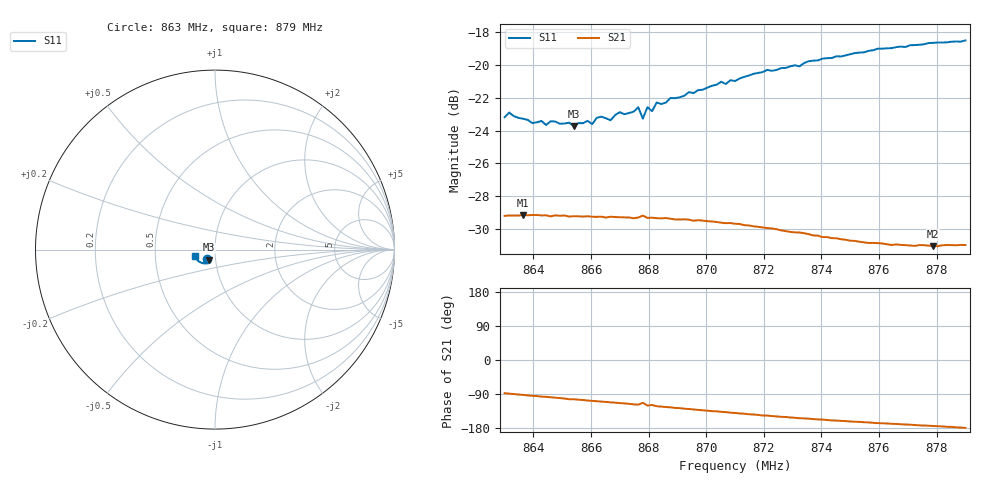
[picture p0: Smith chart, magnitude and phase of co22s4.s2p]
# HZ S RI R 50
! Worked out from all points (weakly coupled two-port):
!   101 points, 863 MHz to 879 MHz, reference 50 ohm
!   highest |S21| = -29.14 dB at 863.64 MHz (marker M1); lowest = -31.0 dB at 877.88 MHz (marker M2)
!   lowest |S11| = -23.7 dB at 865.4 MHz (marker M3), VSWR 1.14, Z = 46.6 - j5.33 ohm
!   |S11| at or under -10 dB: start of sweep to end of sweep
!   S12 and S22 are empty: the file has one direction only
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8.63e8  -0.0437 -0.0539  0.00148 -0.0346  0 0  0 0
8.6316e8  -0.045 -0.0558  0.000677 -0.0348  0 0  0 0
8.6364e8  -0.0415 -0.0547  -0.00125 -0.0349  0 0  0 0
8.654e8  -0.032 -0.0569  -0.00808 -0.0336  0 0  0 0
8.6572e8  -0.0341 -0.0571  -0.00925 -0.0332  0 0  0 0
8.6604e8  -0.0323 -0.0576  -0.0106 -0.0328  0 0  0 0
8.6636e8  -0.0354 -0.0599  -0.0117 -0.0324  0 0  0 0
8.6668e8  -0.0305 -0.0607  -0.0128 -0.032  0 0  0 0
8.67e8  -0.0357 -0.0624  -0.0139 -0.0314  0 0  0 0
8.6716e8  -0.0331 -0.0626  -0.0142 -0.0312  0 0  0 0
8.6764e8  -0.0356 -0.0653  -0.0161 -0.0303  0 0  0 0
8.678e8  -0.0241 -0.0643  -0.0135 -0.032  0 0  0 0
8.6796e8  -0.0348 -0.0659  -0.0172 -0.0295  0 0  0 0
8.6812e8  -0.0316 -0.0651  -0.0165 -0.03  0 0  0 0
8.6828e8  -0.0354 -0.0683  -0.0181 -0.0289  0 0  0 0
8.6844e8  -0.0355 -0.0673  -0.0186 -0.0286  0 0  0 0
8.7052e8  -0.0465 -0.0759  -0.0241 -0.0226  0 0  0 0
8.71e8  -0.0492 -0.0747  -0.025 -0.0213  0 0  0 0
8.7372e8  -0.0707 -0.0752  -0.0276 -0.0123  0 0  0 0
8.7644e8  -0.0945 -0.0615  -0.0277 -0.00573  0 0  0 0
8.7788e8  -0.1062 -0.049  -0.0279 -0.00284  0 0  0 0
8.79e8  -0.1131 -0.0369  -0.0283 -0.000434  0 0  0 0
